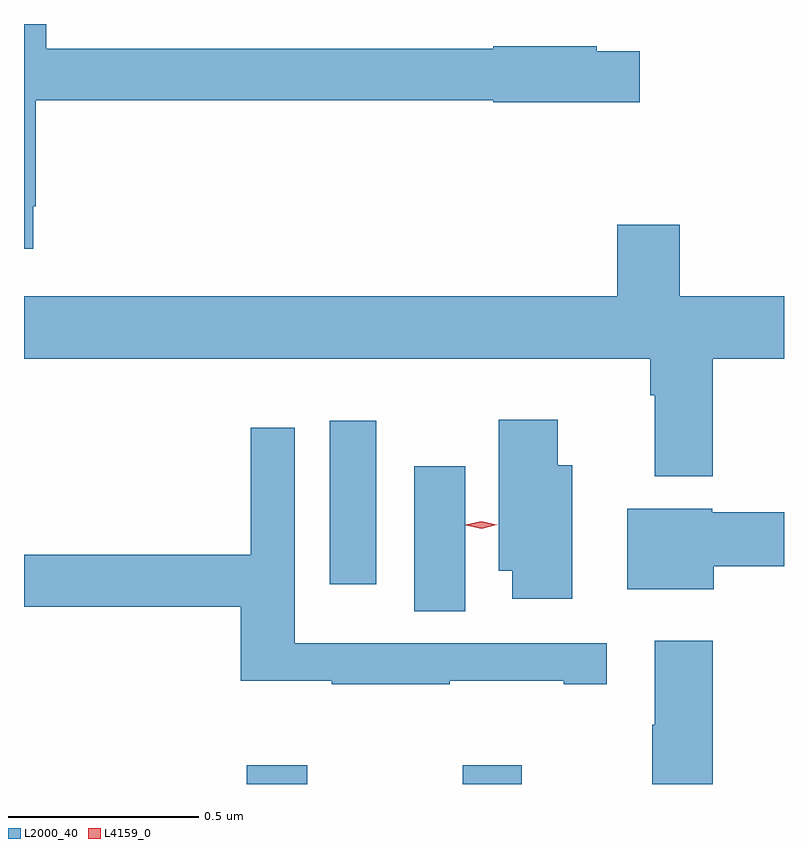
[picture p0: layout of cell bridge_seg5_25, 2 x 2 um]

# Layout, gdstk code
import gdstk
lib = gdstk.Library(unit=1e-6, precision=1e-09)
def R(c, l, rs):  # rectangles x0, y0, x1, y1
    for r in rs: c.add(gdstk.rectangle(r[:2], r[2:], *l))
def P(c, l, *ps):  # polygons
    for p in ps: c.add(gdstk.Polygon(p, *l))
L2000_40 = (2000, 40)
L4159_0 = (4159, 0)

bridge_seg5_25 = lib.new_cell('bridge_seg5_25')
R(bridge_seg5_25, L2000_40, [(1015.181,844.985,1015.341,845.035), (1015.75,844.985,1015.905,845.035), (1015.622,845.44,1015.756,845.821), (1015.4,845.511,1015.522,845.941)])
P(bridge_seg5_25, L2000_40, [(1014.619,846.505),(1014.626,846.505),(1014.626,846.784),(1015.83,846.784),(1015.83,846.779),(1016.215,846.779),(1016.215,846.913),(1016.102,846.913),(1016.102,846.926),(1015.83,846.926),(1015.83,846.92),(1014.653,846.92),(1014.653,846.985),(1014.595,846.985),(1014.595,846.393),(1014.619,846.393)],
  [(1016.408,846.104),(1016.595,846.104),(1016.595,846.268),(1016.32,846.268),(1016.32,846.457),(1016.156,846.457),(1016.156,846.268),(1014.595,846.268),(1014.595,846.104),(1016.243,846.104),(1016.243,846.008),(1016.255,846.008),(1016.255,845.795),(1016.408,845.795)],
  [(1016.038,845.824),(1015.999,845.824),(1015.999,845.944),(1015.844,845.944),(1015.844,845.546),(1015.88,845.546),(1015.88,845.472),(1016.038,845.472)],
  [(1015.715,845.257),(1016.015,845.257),(1016.015,845.247),(1016.128,845.247),(1016.128,845.355),(1015.518,845.355),(1015.518,845.356),(1015.308,845.356),(1015.308,845.923),(1015.192,845.923),(1015.192,845.588),(1014.595,845.588),(1014.595,845.452),(1015.166,845.452),(1015.166,845.257),(1015.405,845.257),(1015.405,845.247),(1015.715,845.247)],
  [(1016.41,845.558),(1016.595,845.558),(1016.595,845.7),(1016.406,845.7),(1016.406,845.71),(1016.183,845.71),(1016.183,845.498),(1016.41,845.498)],
  [(1016.408,845.362),(1016.255,845.362),(1016.255,845.141),(1016.248,845.141),(1016.248,844.985),(1016.408,844.985)])
P(bridge_seg5_25, L4159_0, [(1015.799,845.657),(1015.757,845.666),(1015.757,845.667),(1015.757,845.667),(1015.798,845.677),(1015.839,845.667),(1015.84,845.667),(1015.839,845.667)])

lib.write_gds('bridge_seg5_25.gds')
